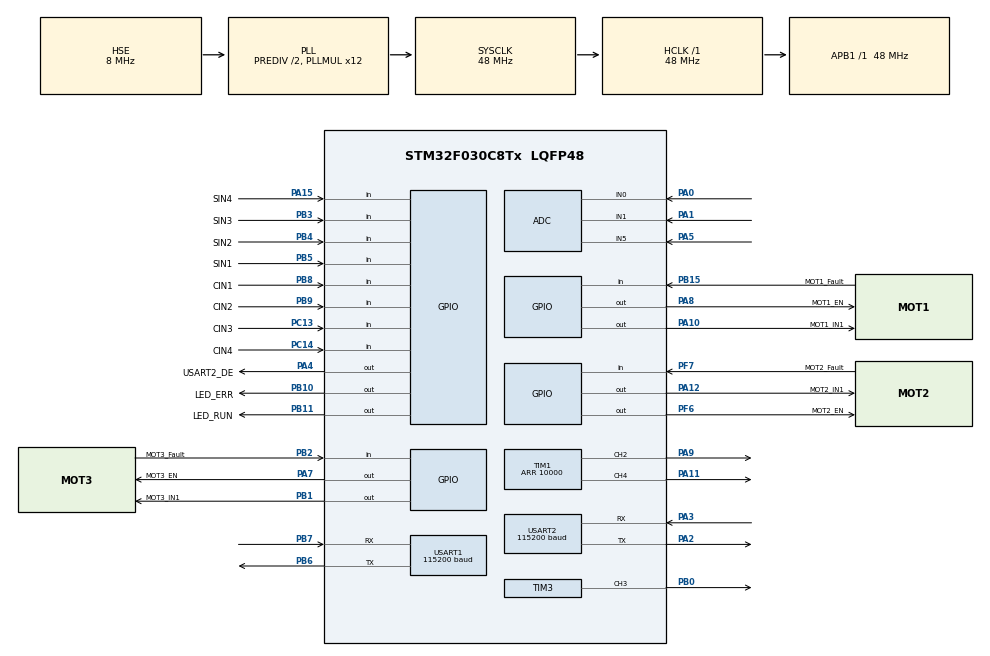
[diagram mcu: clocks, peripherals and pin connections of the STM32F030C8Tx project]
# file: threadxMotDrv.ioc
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ADC.ContinuousConvMode=ENABLE
ADC.DMAContinuousRequests=ENABLE
ADC.SamplingTime=ADC_SAMPLETIME_239CYCLES_5
Dma.ADC.2.Direction=DMA_PERIPH_TO_MEMORY
Dma.ADC.2.Instance=DMA1_Channel1
Dma.ADC.2.MemDataAlignment=DMA_MDATAALIGN_HALFWORD
Dma.ADC.2.MemInc=DMA_MINC_ENABLE
Dma.ADC.2.Mode=DMA_CIRCULAR
Dma.ADC.2.PeriphDataAlignment=DMA_PDATAALIGN_HALFWORD
Dma.ADC.2.PeriphInc=DMA_PINC_DISABLE
Dma.ADC.2.Priority=DMA_PRIORITY_LOW
Dma.Request0=USART2_RX
Dma.Request1=USART2_TX
Dma.Request2=ADC
Dma.Request3=USART1_RX
Dma.Request4=USART1_TX
Dma.USART1_RX.3.Direction=DMA_PERIPH_TO_MEMORY
Dma.USART1_RX.3.Instance=DMA1_Channel3
Dma.USART1_RX.3.MemDataAlignment=DMA_MDATAALIGN_BYTE
Dma.USART1_RX.3.MemInc=DMA_MINC_ENABLE
Dma.USART1_RX.3.Mode=DMA_NORMAL
Dma.USART1_RX.3.PeriphDataAlignment=DMA_PDATAALIGN_BYTE
Dma.USART1_RX.3.PeriphInc=DMA_PINC_DISABLE
Dma.USART1_RX.3.Priority=DMA_PRIORITY_LOW
Dma.USART1_TX.4.Direction=DMA_MEMORY_TO_PERIPH
Dma.USART1_TX.4.Instance=DMA1_Channel2
Dma.USART1_TX.4.MemDataAlignment=DMA_MDATAALIGN_BYTE
Dma.USART1_TX.4.MemInc=DMA_MINC_ENABLE
Dma.USART1_TX.4.Mode=DMA_NORMAL
Dma.USART1_TX.4.PeriphDataAlignment=DMA_PDATAALIGN_BYTE
Dma.USART1_TX.4.PeriphInc=DMA_PINC_DISABLE
Dma.USART1_TX.4.Priority=DMA_PRIORITY_LOW
Dma.USART2_RX.0.Direction=DMA_PERIPH_TO_MEMORY
Dma.USART2_RX.0.Instance=DMA1_Channel5
Dma.USART2_RX.0.MemDataAlignment=DMA_MDATAALIGN_BYTE
Dma.USART2_RX.0.MemInc=DMA_MINC_ENABLE
Dma.USART2_RX.0.Mode=DMA_NORMAL
Dma.USART2_RX.0.PeriphDataAlignment=DMA_PDATAALIGN_BYTE
Dma.USART2_RX.0.PeriphInc=DMA_PINC_DISABLE
Dma.USART2_RX.0.Priority=DMA_PRIORITY_LOW
Dma.USART2_TX.1.Direction=DMA_MEMORY_TO_PERIPH
Dma.USART2_TX.1.Instance=DMA1_Channel4
Dma.USART2_TX.1.MemDataAlignment=DMA_MDATAALIGN_BYTE
Dma.USART2_TX.1.MemInc=DMA_MINC_ENABLE
Dma.USART2_TX.1.Mode=DMA_NORMAL
Dma.USART2_TX.1.PeriphDataAlignment=DMA_PDATAALIGN_BYTE
Dma.USART2_TX.1.PeriphInc=DMA_PINC_DISABLE
Dma.USART2_TX.1.Priority=DMA_PRIORITY_LOW
Mcu.Family=STM32F0
Mcu.Name=STM32F030C8Tx
Mcu.Package=LQFP48
NVIC.DMA1_Channel1_IRQn=true\:0\:0\:false\:false\:true\:false\:true\:true
NVIC.DMA1_Channel2_3_IRQn=true\:0\:0\:false\:false\:true\:false\:true\:true
NVIC.DMA1_Channel4_5_IRQn=true\:0\:0\:false\:false\:true\:false\:true\:true
NVIC.TIM6_IRQn=true\:3\:0\:false\:false\:true\:false\:true\:true
NVIC.TimeBase=TIM6_IRQn
NVIC.TimeBaseIP=TIM6
NVIC.USART2_IRQn=true\:0\:0\:false\:false\:true\:true\:true\:true
PA0.Mode=IN0
PA0.Signal=ADC_IN0
PA1.Mode=IN1
PA1.Signal=ADC_IN1
PA10.GPIO_Label=MOT1_IN1
PA10.Signal=GPIO_Output
PA11.GPIO_PuPd=GPIO_PULLDOWN
PA11.Signal=S_TIM1_CH4
PA12.GPIO_Label=MOT2_IN1
PA12.Signal=GPIO_Output
PA13.Mode=Serial_Wire
PA13.Signal=SYS_SWDIO
PA14.Mode=Serial_Wire
PA14.Signal=SYS_SWCLK
PA15.GPIO_Label=SIN4
PA15.GPIO_PuPd=GPIO_PULLUP
PA15.Signal=GPIO_Input
PA2.Mode=Asynchronous
PA2.Signal=USART2_TX
PA3.Mode=Asynchronous
PA3.Signal=USART2_RX
PA4.GPIO_Label=USART2_DE
PA4.Signal=GPIO_Output
PA5.Mode=IN5
PA5.Signal=ADC_IN5
PA7.GPIO_Label=MOT3_EN
PA7.Signal=GPIO_Output
PA8.GPIO_Label=MOT1_EN
PA8.Signal=GPIO_Output
PA9.GPIO_PuPd=GPIO_PULLDOWN
PA9.Signal=S_TIM1_CH2
PB0.GPIO_PuPd=GPIO_PULLDOWN
PB0.Signal=S_TIM3_CH3
PB1.GPIO_Label=MOT3_IN1
PB1.Signal=GPIO_Output
PB10.GPIO_Label=LED_ERR
PB10.Signal=GPIO_Output
PB11.GPIO_Label=LED_RUN
PB11.Signal=GPIO_Output
PB15.GPIO_Label=MOT1_Fault
PB15.Signal=GPIO_Input
PB2.GPIO_Label=MOT3_Fault
PB2.Signal=GPIO_Input
PB3.GPIO_Label=SIN3
PB3.GPIO_PuPd=GPIO_PULLUP
PB3.Signal=GPIO_Input
PB4.GPIO_Label=SIN2
PB4.GPIO_PuPd=GPIO_PULLUP
PB4.Signal=GPIO_Input
PB5.GPIO_Label=SIN1
PB5.GPIO_PuPd=GPIO_PULLUP
PB5.Signal=GPIO_Input
PB6.Mode=Asynchronous
PB6.Signal=USART1_TX
PB7.Mode=Asynchronous
PB7.Signal=USART1_RX
PB8.GPIO_Label=CIN1
PB8.Signal=GPIO_Input
PB9.GPIO_Label=CIN2
PB9.Signal=GPIO_Input
PC13.GPIO_Label=CIN3
PC13.Signal=GPIO_Input
PC14-OSC32_IN.GPIO_Label=CIN4
PC14-OSC32_IN.Signal=GPIO_Input
PF0-OSC_IN.Mode=HSE-External-Oscillator
PF0-OSC_IN.Signal=RCC_OSC_IN
PF1-OSC_OUT.Mode=HSE-External-Oscillator
PF1-OSC_OUT.Signal=RCC_OSC_OUT
PF6.GPIO_Label=MOT2_EN
PF6.Signal=GPIO_Output
PF7.GPIO_Label=MOT2_Fault
PF7.Signal=GPIO_Input
ProjectManager.HeapSize=0x200
ProjectManager.StackSize=0x400
ProjectManager.TargetToolchain=EWARM V8.32
RCC.AHBFreq_Value=48000000
RCC.APB1Freq_Value=48000000
RCC.APB1TimFreq_Value=48000000
RCC.HCLKFreq_Value=48000000
RCC.PLLDivider=RCC_PREDIV_DIV2
RCC.PLLMUL=RCC_PLL_MUL12
RCC.PLLSourceVirtual=RCC_PLLSOURCE_HSE
RCC.SYSCLKFreq_VALUE=48000000
RCC.SYSCLKSource=RCC_SYSCLKSOURCE_PLLCLK
SH.S_TIM1_CH2.0=TIM1_CH2,PWM Generation2 CH2
SH.S_TIM1_CH4.0=TIM1_CH4,PWM Generation4 CH4
SH.S_TIM3_CH3.0=TIM3_CH3,PWM Generation3 CH3
TIM1.Channel-PWM\ Generation2\ CH2=TIM_CHANNEL_2
TIM1.Channel-PWM\ Generation4\ CH4=TIM_CHANNEL_4
TIM1.Period=10000
TIM1.Pulse-PWM\ Generation2\ CH2=5000
TIM1.Pulse-PWM\ Generation4\ CH4=5000
TIM3.Channel-PWM\ Generation3\ CH3=TIM_CHANNEL_3
TIM3.Period=10000
TIM3.Pulse-PWM\ Generation3\ CH3=5000
USART1.BaudRate=115200
USART1.VirtualMode-Asynchronous=VM_ASYNC
USART2.BaudRate=115200
USART2.VirtualMode-Asynchronous=VM_ASYNC
VP_SYS_VS_tim6.Mode=TIM6
board=custom

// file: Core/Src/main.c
/* USER CODE BEGIN Header */
/**
  ******************************************************************************
  * @file           : main.c
  * @brief          : Main program body
  ******************************************************************************
  * @attention
  *
  * Copyright (c) 2022 STMicroelectronics.
  * All rights reserved.
  *
  * This software is licensed under terms that can be found in the LICENSE file
  * in the root directory of this software component.
  * If no LICENSE file comes with this software, it is provided AS-IS.
  *
  ******************************************************************************
  */
/* USER CODE END Header */
#include "main.h"

ADC_HandleTypeDef hadc;
DMA_HandleTypeDef hdma_adc;

TIM_HandleTypeDef htim1;
TIM_HandleTypeDef htim3;

UART_HandleTypeDef huart1;
UART_HandleTypeDef huart2;
DMA_HandleTypeDef hdma_usart1_rx;
DMA_HandleTypeDef hdma_usart1_tx;
DMA_HandleTypeDef hdma_usart2_rx;
DMA_HandleTypeDef hdma_usart2_tx;

void SystemClock_Config(void);
static void MX_GPIO_Init(void);
static void MX_DMA_Init(void);
static void MX_USART2_UART_Init(void);
static void MX_USART1_UART_Init(void);
static void MX_ADC_Init(void);
static void MX_TIM1_Init(void);
static void MX_TIM3_Init(void);

/* USER CODE BEGIN 0 */
#include "tx_api.h"
#define MAXRXU2 100
unsigned short RxLenU2 = 0;
unsigned char RxBufU2[MAXRXU2];

void u2rxstrdecodeProcess(void)
{

  if ((__HAL_UART_GET_FLAG(&huart2, UART_FLAG_IDLE) != RESET)) //空闲中断
  {
    __HAL_UART_CLEAR_IDLEFLAG(&huart2);
    HAL_UART_DMAStop(&huart2);

    __HAL_UART_CLEAR_FLAG(&huart2, UART_CLEAR_OREF | UART_CLEAR_NEF | UART_CLEAR_PEF | UART_CLEAR_FEF); //在可能接受到大量数据的时候需要清除这些标志

    RxLenU2 = MAXRXU2 - huart2.hdmarx->Instance->CNDTR; //接收到的字节长度

    HAL_GPIO_WritePin(USART2_DE_GPIO_Port,USART2_DE_Pin,GPIO_PIN_SET);//切换成发送

    HAL_UART_Transmit(&huart2, RxBufU2, RxLenU2,100);

    HAL_GPIO_WritePin(USART2_DE_GPIO_Port,USART2_DE_Pin,GPIO_PIN_RESET);//接换成接收

    HAL_UART_Receive_DMA(&huart2, RxBufU2, MAXRXU2); //再次开启DMA接收
  }
}
#define DEMO_STACK_SIZE         1000
#define DEMO_QUEUE_SIZE         10

TX_THREAD       thread_0;
UCHAR           thread_0_stack[DEMO_STACK_SIZE];
void            thread_0_entry(ULONG thread_input);

VOID tx_application_define(void  *first_unused_memory)
{
  tx_thread_create(&thread_0,
                   "thread 0",
                   thread_0_entry,
                   0,
                   thread_0_stack,
                   DEMO_STACK_SIZE,
                   1,
                   1,
                   TX_NO_TIME_SLICE,
                   TX_AUTO_START);
}

void thread_0_entry(ULONG thread_input)
{

  while(1)
  {
    tx_thread_sleep(100);
    HAL_GPIO_WritePin(GPIOB,GPIO_PIN_11,GPIO_PIN_RESET);
    HAL_GPIO_WritePin(GPIOB,GPIO_PIN_10,GPIO_PIN_SET);
    tx_thread_sleep(100);
    HAL_GPIO_WritePin(GPIOB,GPIO_PIN_11,GPIO_PIN_SET);
    HAL_GPIO_WritePin(GPIOB,GPIO_PIN_10,GPIO_PIN_RESET);
  }

}

/* USER CODE END 0 */

int main(void)
{

  /* MCU Configuration--------------------------------------------------------*/

  /* Reset of all peripherals, Initializes the Flash interface and the Systick. */
  HAL_Init();

  /* Configure the system clock */
  SystemClock_Config();

  /* Initialize all configured peripherals */
  MX_GPIO_Init();
  MX_DMA_Init();
  MX_USART2_UART_Init();
  MX_USART1_UART_Init();
  MX_ADC_Init();
  MX_TIM1_Init();
  MX_TIM3_Init();
  /* USER CODE BEGIN 2 */
  HAL_GPIO_WritePin(USART2_DE_GPIO_Port,USART2_DE_Pin,GPIO_PIN_RESET);//接换成接收
  HAL_UART_Receive_DMA(&huart2, RxBufU2, MAXRXU2);
  __HAL_UART_ENABLE_IT(&huart2, UART_IT_IDLE);
  tx_kernel_enter();
  /* USER CODE END 2 */

  /* Infinite loop */
  while (1)
  {

  }
}

void SystemClock_Config(void)
{
  RCC_OscInitTypeDef RCC_OscInitStruct = {0};
  RCC_ClkInitTypeDef RCC_ClkInitStruct = {0};
  RCC_PeriphCLKInitTypeDef PeriphClkInit = {0};

  /** Initializes the RCC Oscillators according to the specified parameters
  * in the RCC_OscInitTypeDef structure.
  */
  RCC_OscInitStruct.OscillatorType = RCC_OSCILLATORTYPE_HSI14|RCC_OSCILLATORTYPE_HSE;
  RCC_OscInitStruct.HSEState = RCC_HSE_ON;
  RCC_OscInitStruct.HSI14State = RCC_HSI14_ON;
  RCC_OscInitStruct.HSI14CalibrationValue = 16;
  RCC_OscInitStruct.PLL.PLLState = RCC_PLL_ON;
  RCC_OscInitStruct.PLL.PLLSource = RCC_PLLSOURCE_HSE;
  RCC_OscInitStruct.PLL.PLLMUL = RCC_PLL_MUL12;
  RCC_OscInitStruct.PLL.PREDIV = RCC_PREDIV_DIV2;
  if (HAL_RCC_OscConfig(&RCC_OscInitStruct) != HAL_OK)
  {
    Error_Handler();
  }

  /** Initializes the CPU, AHB and APB buses clocks
  */
  RCC_ClkInitStruct.ClockType = RCC_CLOCKTYPE_HCLK|RCC_CLOCKTYPE_SYSCLK
                              |RCC_CLOCKTYPE_PCLK1;
  RCC_ClkInitStruct.SYSCLKSource = RCC_SYSCLKSOURCE_PLLCLK;
  RCC_ClkInitStruct.AHBCLKDivider = RCC_SYSCLK_DIV1;
  RCC_ClkInitStruct.APB1CLKDivider = RCC_HCLK_DIV1;

  if (HAL_RCC_ClockConfig(&RCC_ClkInitStruct, FLASH_LATENCY_1) != HAL_OK)
  {
    Error_Handler();
  }
  PeriphClkInit.PeriphClockSelection = RCC_PERIPHCLK_USART1;
  PeriphClkInit.Usart1ClockSelection = RCC_USART1CLKSOURCE_PCLK1;
  if (HAL_RCCEx_PeriphCLKConfig(&PeriphClkInit) != HAL_OK)
  {
    Error_Handler();
  }
}

static void MX_ADC_Init(void)
{

  ADC_ChannelConfTypeDef sConfig = {0};

  /** Configure the global features of the ADC (Clock, Resolution, Data Alignment and number of conversion)
  */
  hadc.Instance = ADC1;
  hadc.Init.ClockPrescaler = ADC_CLOCK_ASYNC_DIV1;
  hadc.Init.Resolution = ADC_RESOLUTION_12B;
  hadc.Init.DataAlign = ADC_DATAALIGN_RIGHT;
  hadc.Init.ScanConvMode = ADC_SCAN_DIRECTION_FORWARD;
  hadc.Init.EOCSelection = ADC_EOC_SINGLE_CONV;
  hadc.Init.LowPowerAutoWait = DISABLE;
  hadc.Init.LowPowerAutoPowerOff = DISABLE;
  hadc.Init.ContinuousConvMode = ENABLE;
  hadc.Init.DiscontinuousConvMode = DISABLE;
  hadc.Init.ExternalTrigConv = ADC_SOFTWARE_START;
  hadc.Init.ExternalTrigConvEdge = ADC_EXTERNALTRIGCONVEDGE_NONE;
  hadc.Init.DMAContinuousRequests = ENABLE;
  hadc.Init.Overrun = ADC_OVR_DATA_PRESERVED;
  if (HAL_ADC_Init(&hadc) != HAL_OK)
  {
    Error_Handler();
  }

  /** Configure for the selected ADC regular channel to be converted.
  */
  sConfig.Channel = ADC_CHANNEL_0;
  sConfig.Rank = ADC_RANK_CHANNEL_NUMBER;
  sConfig.SamplingTime = ADC_SAMPLETIME_239CYCLES_5;
  if (HAL_ADC_ConfigChannel(&hadc, &sConfig) != HAL_OK)
  {
    Error_Handler();
  }

  /** Configure for the selected ADC regular channel to be converted.
  */
  sConfig.Channel = ADC_CHANNEL_1;
  if (HAL_ADC_ConfigChannel(&hadc, &sConfig) != HAL_OK)
  {
    Error_Handler();
  }

  /** Configure for the selected ADC regular channel to be converted.
  */
  sConfig.Channel = ADC_CHANNEL_5;
  if (HAL_ADC_ConfigChannel(&hadc, &sConfig) != HAL_OK)
  {
    Error_Handler();
  }

}

static void MX_TIM1_Init(void)
{

  TIM_MasterConfigTypeDef sMasterConfig = {0};
  TIM_OC_InitTypeDef sConfigOC = {0};
  TIM_BreakDeadTimeConfigTypeDef sBreakDeadTimeConfig = {0};

  htim1.Instance = TIM1;
  htim1.Init.Prescaler = 0;
  htim1.Init.CounterMode = TIM_COUNTERMODE_UP;
  htim1.Init.Period = 10000;
  htim1.Init.ClockDivision = TIM_CLOCKDIVISION_DIV1;
  htim1.Init.RepetitionCounter = 0;
  htim1.Init.AutoReloadPreload = TIM_AUTORELOAD_PRELOAD_DISABLE;
  if (HAL_TIM_PWM_Init(&htim1) != HAL_OK)
  {
    Error_Handler();
  }
  sMasterConfig.MasterOutputTrigger = TIM_TRGO_RESET;
  sMasterConfig.MasterSlaveMode = TIM_MASTERSLAVEMODE_DISABLE;
  if (HAL_TIMEx_MasterConfigSynchronization(&htim1, &sMasterConfig) != HAL_OK)
  {
    Error_Handler();
  }
  sConfigOC.OCMode = TIM_OCMODE_PWM1;
  sConfigOC.Pulse = 5000;
  sConfigOC.OCPolarity = TIM_OCPOLARITY_HIGH;
  sConfigOC.OCNPolarity = TIM_OCNPOLARITY_HIGH;
  sConfigOC.OCFastMode = TIM_OCFAST_DISABLE;
  sConfigOC.OCIdleState = TIM_OCIDLESTATE_RESET;
  sConfigOC.OCNIdleState = TIM_OCNIDLESTATE_RESET;
  if (HAL_TIM_PWM_ConfigChannel(&htim1, &sConfigOC, TIM_CHANNEL_2) != HAL_OK)
  {
    Error_Handler();
  }
  if (HAL_TIM_PWM_ConfigChannel(&htim1, &sConfigOC, TIM_CHANNEL_4) != HAL_OK)
  {
    Error_Handler();
  }
  sBreakDeadTimeConfig.OffStateRunMode = TIM_OSSR_DISABLE;
  sBreakDeadTimeConfig.OffStateIDLEMode = TIM_OSSI_DISABLE;
  sBreakDeadTimeConfig.LockLevel = TIM_LOCKLEVEL_OFF;
  sBreakDeadTimeConfig.DeadTime = 0;
  sBreakDeadTimeConfig.BreakState = TIM_BREAK_DISABLE;
  sBreakDeadTimeConfig.BreakPolarity = TIM_BREAKPOLARITY_HIGH;
  sBreakDeadTimeConfig.AutomaticOutput = TIM_AUTOMATICOUTPUT_DISABLE;
  if (HAL_TIMEx_ConfigBreakDeadTime(&htim1, &sBreakDeadTimeConfig) != HAL_OK)
  {
    Error_Handler();
  }
  HAL_TIM_MspPostInit(&htim1);

}

static void MX_TIM3_Init(void)
{

  TIM_MasterConfigTypeDef sMasterConfig = {0};
  TIM_OC_InitTypeDef sConfigOC = {0};

  htim3.Instance = TIM3;
  htim3.Init.Prescaler = 0;
  htim3.Init.CounterMode = TIM_COUNTERMODE_UP;
  htim3.Init.Period = 10000;
  htim3.Init.ClockDivision = TIM_CLOCKDIVISION_DIV1;
  htim3.Init.AutoReloadPreload = TIM_AUTORELOAD_PRELOAD_DISABLE;
  if (HAL_TIM_PWM_Init(&htim3) != HAL_OK)
  {
    Error_Handler();
  }
  sMasterConfig.MasterOutputTrigger = TIM_TRGO_RESET;
  sMasterConfig.MasterSlaveMode = TIM_MASTERSLAVEMODE_DISABLE;
  if (HAL_TIMEx_MasterConfigSynchronization(&htim3, &sMasterConfig) != HAL_OK)
  {
    Error_Handler();
  }
  sConfigOC.OCMode = TIM_OCMODE_PWM1;
  sConfigOC.Pulse = 5000;
  sConfigOC.OCPolarity = TIM_OCPOLARITY_HIGH;
  sConfigOC.OCFastMode = TIM_OCFAST_DISABLE;
  if (HAL_TIM_PWM_ConfigChannel(&htim3, &sConfigOC, TIM_CHANNEL_3) != HAL_OK)
  {
    Error_Handler();
  }
  HAL_TIM_MspPostInit(&htim3);

}

static void MX_USART1_UART_Init(void)
{

  huart1.Instance = USART1;
  huart1.Init.BaudRate = 115200;
  huart1.Init.WordLength = UART_WORDLENGTH_8B;
  huart1.Init.StopBits = UART_STOPBITS_1;
  huart1.Init.Parity = UART_PARITY_NONE;
  huart1.Init.Mode = UART_MODE_TX_RX;
  huart1.Init.HwFlowCtl = UART_HWCONTROL_NONE;
  huart1.Init.OverSampling = UART_OVERSAMPLING_16;
  huart1.Init.OneBitSampling = UART_ONE_BIT_SAMPLE_DISABLE;
  huart1.AdvancedInit.AdvFeatureInit = UART_ADVFEATURE_NO_INIT;
  if (HAL_UART_Init(&huart1) != HAL_OK)
  {
    Error_Handler();
  }

}

static void MX_USART2_UART_Init(void)
{

  huart2.Instance = USART2;
  huart2.Init.BaudRate = 115200;
  huart2.Init.WordLength = UART_WORDLENGTH_8B;
  huart2.Init.StopBits = UART_STOPBITS_1;
  huart2.Init.Parity = UART_PARITY_NONE;
  huart2.Init.Mode = UART_MODE_TX_RX;
  huart2.Init.HwFlowCtl = UART_HWCONTROL_NONE;
  huart2.Init.OverSampling = UART_OVERSAMPLING_16;
  huart2.Init.OneBitSampling = UART_ONE_BIT_SAMPLE_DISABLE;
  huart2.AdvancedInit.AdvFeatureInit = UART_ADVFEATURE_NO_INIT;
  if (HAL_UART_Init(&huart2) != HAL_OK)
  {
    Error_Handler();
  }

}

static void MX_DMA_Init(void)
{

  /* DMA controller clock enable */
  __HAL_RCC_DMA1_CLK_ENABLE();

  /* DMA interrupt init */
  /* DMA1_Channel1_IRQn interrupt configuration */
  HAL_NVIC_SetPriority(DMA1_Channel1_IRQn, 0, 0);
  HAL_NVIC_EnableIRQ(DMA1_Channel1_IRQn);
  /* DMA1_Channel2_3_IRQn interrupt configuration */
  HAL_NVIC_SetPriority(DMA1_Channel2_3_IRQn, 0, 0);
  HAL_NVIC_EnableIRQ(DMA1_Channel2_3_IRQn);
  /* DMA1_Channel4_5_IRQn interrupt configuration */
  HAL_NVIC_SetPriority(DMA1_Channel4_5_IRQn, 0, 0);
  HAL_NVIC_EnableIRQ(DMA1_Channel4_5_IRQn);

}

static void MX_GPIO_Init(void)
{
  GPIO_InitTypeDef GPIO_InitStruct = {0};

  /* GPIO Ports Clock Enable */
  __HAL_RCC_GPIOC_CLK_ENABLE();
  __HAL_RCC_GPIOF_CLK_ENABLE();
  __HAL_RCC_GPIOA_CLK_ENABLE();
  __HAL_RCC_GPIOB_CLK_ENABLE();

  /*Configure GPIO pin Output Level */
  HAL_GPIO_WritePin(GPIOA, USART2_DE_Pin|MOT3_EN_Pin|MOT1_EN_Pin|MOT1_IN1_Pin
                          |MOT2_IN1_Pin, GPIO_PIN_RESET);

  /*Configure GPIO pin Output Level */
  HAL_GPIO_WritePin(GPIOB, MOT3_IN1_Pin|LED_ERR_Pin|LED_RUN_Pin, GPIO_PIN_RESET);

  /*Configure GPIO pin Output Level */
  HAL_GPIO_WritePin(MOT2_EN_GPIO_Port, MOT2_EN_Pin, GPIO_PIN_RESET);

  /*Configure GPIO pins : CIN3_Pin CIN4_Pin */
  GPIO_InitStruct.Pin = CIN3_Pin|CIN4_Pin;
  GPIO_InitStruct.Mode = GPIO_MODE_INPUT;
  GPIO_InitStruct.Pull = GPIO_NOPULL;
  HAL_GPIO_Init(GPIOC, &GPIO_InitStruct);

  /*Configure GPIO pins : USART2_DE_Pin MOT3_EN_Pin MOT1_EN_Pin MOT1_IN1_Pin
                           MOT2_IN1_Pin */
  GPIO_InitStruct.Pin = USART2_DE_Pin|MOT3_EN_Pin|MOT1_EN_Pin|MOT1_IN1_Pin
                          |MOT2_IN1_Pin;
  GPIO_InitStruct.Mode = GPIO_MODE_OUTPUT_PP;
  GPIO_InitStruct.Pull = GPIO_NOPULL;
  GPIO_InitStruct.Speed = GPIO_SPEED_FREQ_LOW;
  HAL_GPIO_Init(GPIOA, &GPIO_InitStruct);

  /*Configure GPIO pins : MOT3_IN1_Pin LED_ERR_Pin LED_RUN_Pin */
  GPIO_InitStruct.Pin = MOT3_IN1_Pin|LED_ERR_Pin|LED_RUN_Pin;
  GPIO_InitStruct.Mode = GPIO_MODE_OUTPUT_PP;
  GPIO_InitStruct.Pull = GPIO_NOPULL;
  GPIO_InitStruct.Speed = GPIO_SPEED_FREQ_LOW;
  HAL_GPIO_Init(GPIOB, &GPIO_InitStruct);

  /*Configure GPIO pins : MOT3_Fault_Pin MOT1_Fault_Pin CIN1_Pin CIN2_Pin */
  GPIO_InitStruct.Pin = MOT3_Fault_Pin|MOT1_Fault_Pin|CIN1_Pin|CIN2_Pin;
  GPIO_InitStruct.Mode = GPIO_MODE_INPUT;
  GPIO_InitStruct.Pull = GPIO_NOPULL;
  HAL_GPIO_Init(GPIOB, &GPIO_InitStruct);

  /*Configure GPIO pin : MOT2_EN_Pin */
  GPIO_InitStruct.Pin = MOT2_EN_Pin;
  GPIO_InitStruct.Mode = GPIO_MODE_OUTPUT_PP;
  GPIO_InitStruct.Pull = GPIO_NOPULL;
  GPIO_InitStruct.Speed = GPIO_SPEED_FREQ_LOW;
  HAL_GPIO_Init(MOT2_EN_GPIO_Port, &GPIO_InitStruct);

  /*Configure GPIO pin : MOT2_Fault_Pin */
  GPIO_InitStruct.Pin = MOT2_Fault_Pin;
  GPIO_InitStruct.Mode = GPIO_MODE_INPUT;
  GPIO_InitStruct.Pull = GPIO_NOPULL;
  HAL_GPIO_Init(MOT2_Fault_GPIO_Port, &GPIO_InitStruct);

  /*Configure GPIO pin : SIN4_Pin */
  GPIO_InitStruct.Pin = SIN4_Pin;
  GPIO_InitStruct.Mode = GPIO_MODE_INPUT;
  GPIO_InitStruct.Pull = GPIO_PULLUP;
  HAL_GPIO_Init(SIN4_GPIO_Port, &GPIO_InitStruct);

  /*Configure GPIO pins : SIN3_Pin SIN2_Pin SIN1_Pin */
  GPIO_InitStruct.Pin = SIN3_Pin|SIN2_Pin|SIN1_Pin;
  GPIO_InitStruct.Mode = GPIO_MODE_INPUT;
  GPIO_InitStruct.Pull = GPIO_PULLUP;
  HAL_GPIO_Init(GPIOB, &GPIO_InitStruct);

}

void HAL_TIM_PeriodElapsedCallback(TIM_HandleTypeDef *htim)
{
  if (htim->Instance == TIM6) {
    HAL_IncTick();
  }
}

void Error_Handler(void)
{
  __disable_irq();
  while (1)
  {
  }
}
